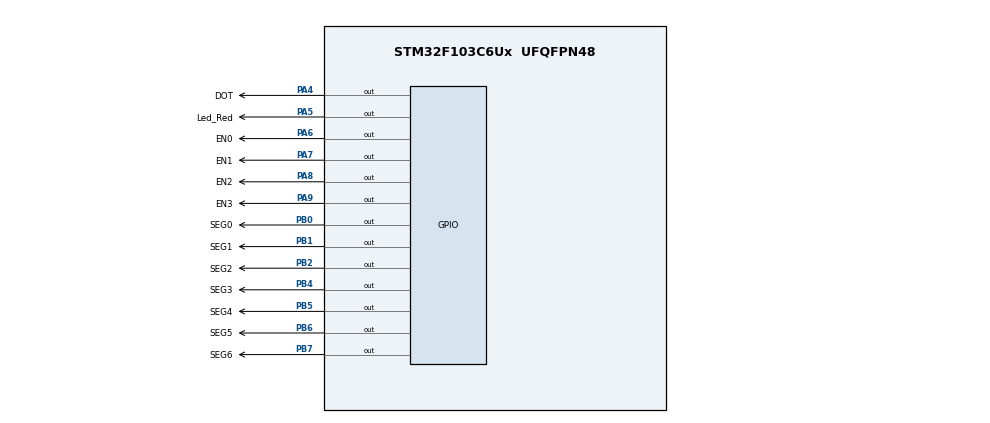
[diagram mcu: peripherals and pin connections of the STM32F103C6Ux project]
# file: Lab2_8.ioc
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Mcu.Family=STM32F1
Mcu.Name=STM32F103C6Ux
Mcu.Package=UFQFPN48
NVIC.PriorityGroup=NVIC_PRIORITYGROUP_4
NVIC.TIM2_IRQn=true\:0\:0\:false\:false\:true\:true\:true
PA4.GPIO_Label=DOT
PA4.Signal=GPIO_Output
PA5.GPIO_Label=Led_Red
PA5.Signal=GPIO_Output
PA6.GPIO_Label=EN0
PA6.Signal=GPIO_Output
PA7.GPIO_Label=EN1
PA7.Signal=GPIO_Output
PA8.GPIO_Label=EN2
PA8.Signal=GPIO_Output
PA9.GPIO_Label=EN3
PA9.Signal=GPIO_Output
PB0.GPIO_Label=SEG0
PB0.Signal=GPIO_Output
PB1.GPIO_Label=SEG1
PB1.Signal=GPIO_Output
PB2.GPIO_Label=SEG2
PB2.Signal=GPIO_Output
PB4.GPIO_Label=SEG3
PB4.Signal=GPIO_Output
PB5.GPIO_Label=SEG4
PB5.Signal=GPIO_Output
PB6.GPIO_Label=SEG5
PB6.Signal=GPIO_Output
PB7.GPIO_Label=SEG6
PB7.Signal=GPIO_Output
ProjectManager.HeapSize=0x200
ProjectManager.StackSize=0x400
ProjectManager.TargetToolchain=STM32CubeIDE
RCC.APB1Freq_Value=8000000
RCC.APB2Freq_Value=8000000
TIM2.Period=9 
TIM2.Prescaler=7999
VP_SYS_VS_ND.Mode=No_Debug
VP_TIM2_VS_ClockSourceINT.Mode=Internal
board=custom

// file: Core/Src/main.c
/* USER CODE BEGIN Header */
/**
  ******************************************************************************
  * @file           : main.c
  * @brief          : Main program body
  ******************************************************************************
  * @attention
  *
  * <h2><center>&copy; Copyright (c) 2022 STMicroelectronics.
  * All rights reserved.</center></h2>
  *
  * This software component is licensed by ST under BSD 3-Clause license,
  * the "License"; You may not use this file except in compliance with the
  * License. You may obtain a copy of the License at:
  *                        opensource.org/licenses/BSD-3-Clause
  *
  ******************************************************************************
  */
/* USER CODE END Header */
#include "main.h"

/* USER CODE BEGIN Includes */
#include "software_timmer.h"
/* USER CODE END Includes */

TIM_HandleTypeDef htim2;

void SystemClock_Config(void);
static void MX_GPIO_Init(void);
static void MX_TIM2_Init(void);

/* USER CODE BEGIN 0 */
void display7SEG(int count);
void updateClockBuffer(int hour, int minute);
void led_on(int index_led);
void update7SEG(int index_led);
/* USER CODE END 0 */

int main(void)
{

  /* MCU Configuration--------------------------------------------------------*/

  /* Reset of all peripherals, Initializes the Flash interface and the Systick. */
  HAL_Init();

  /* Configure the system clock */
  SystemClock_Config();

  /* Initialize all configured peripherals */
  MX_GPIO_Init();
  MX_TIM2_Init();
  /* USER CODE BEGIN 2 */
  HAL_TIM_Base_Start_IT (& htim2 ) ;
  /* USER CODE END 2 */

  /* Infinite loop */
  /* USER CODE BEGIN WHILE */
  setTimer1(100);
  setTimer4(25);
  int index_led = 0;
  int second= 50;
  int minute= 59;
  int hour= 15;
  while (1)
  {
	  updateClockBuffer(hour, minute);
    /* USER CODE END WHILE */
	  if(timer1_flag== 1){
		  setTimer1(100);
		  second++;
		  if ( second >= 60)
		  {	  second = 0;
		  	  minute ++;
		  }
		  if( minute >= 60){
			  minute = 0;
			  hour ++;
		  }
		  if( hour >=24){
			  hour = 0;
		  }
	  }
	  if(timer4_flag== 1){
		  setTimer4(25);
		  switch ( index_led ) {
		  		case 0:
		  		// Display the first 7 SEG with led_buffer [0]
		  			led_on(0);
		  			display7SEG(led_buffer[0]);
		  		    HAL_GPIO_WritePin(DOT_GPIO_Port, DOT_Pin, SET);
		  		break ;
		  		case 1:
		  		// Display the second 7 SEG with led_buffer [1]
		  			led_on(1);
		  			display7SEG(led_buffer[1]);
		  		    HAL_GPIO_WritePin(DOT_GPIO_Port, DOT_Pin, RESET);
		  		break ;
		  		case 2:
		  		// Display the third 7 SEG with led_buffer [2]
		  			led_on(2);
		  			display7SEG(led_buffer[2]);
		  			HAL_GPIO_WritePin(DOT_GPIO_Port, DOT_Pin, SET);
		  		break ;
		  		case 3:
		  		// Display the forth 7 SEG with led_buffer [3]
		  			led_on(3);
		  			display7SEG(led_buffer[3]);
		  			HAL_GPIO_WritePin(DOT_GPIO_Port, DOT_Pin, RESET);
		  		break ;
		  		default :
		  		break ;
		  }
		  index_led++;
	  }
	  if(index_led> 4){
		  index_led= 0;
	  }

  }
  /* USER CODE END 3 */
}

void SystemClock_Config(void)
{
  RCC_OscInitTypeDef RCC_OscInitStruct = {0};
  RCC_ClkInitTypeDef RCC_ClkInitStruct = {0};

  /** Initializes the RCC Oscillators according to the specified parameters
  * in the RCC_OscInitTypeDef structure.
  */
  RCC_OscInitStruct.OscillatorType = RCC_OSCILLATORTYPE_HSI;
  RCC_OscInitStruct.HSIState = RCC_HSI_ON;
  RCC_OscInitStruct.HSICalibrationValue = RCC_HSICALIBRATION_DEFAULT;
  RCC_OscInitStruct.PLL.PLLState = RCC_PLL_NONE;
  if (HAL_RCC_OscConfig(&RCC_OscInitStruct) != HAL_OK)
  {
    Error_Handler();
  }
  /** Initializes the CPU, AHB and APB buses clocks
  */
  RCC_ClkInitStruct.ClockType = RCC_CLOCKTYPE_HCLK|RCC_CLOCKTYPE_SYSCLK
                              |RCC_CLOCKTYPE_PCLK1|RCC_CLOCKTYPE_PCLK2;
  RCC_ClkInitStruct.SYSCLKSource = RCC_SYSCLKSOURCE_HSI;
  RCC_ClkInitStruct.AHBCLKDivider = RCC_SYSCLK_DIV1;
  RCC_ClkInitStruct.APB1CLKDivider = RCC_HCLK_DIV1;
  RCC_ClkInitStruct.APB2CLKDivider = RCC_HCLK_DIV1;

  if (HAL_RCC_ClockConfig(&RCC_ClkInitStruct, FLASH_LATENCY_0) != HAL_OK)
  {
    Error_Handler();
  }
}

static void MX_TIM2_Init(void)
{

  TIM_ClockConfigTypeDef sClockSourceConfig = {0};
  TIM_MasterConfigTypeDef sMasterConfig = {0};

  htim2.Instance = TIM2;
  htim2.Init.Prescaler = 7999;
  htim2.Init.CounterMode = TIM_COUNTERMODE_UP;
  htim2.Init.Period = 9 ;
  htim2.Init.ClockDivision = TIM_CLOCKDIVISION_DIV1;
  htim2.Init.AutoReloadPreload = TIM_AUTORELOAD_PRELOAD_DISABLE;
  if (HAL_TIM_Base_Init(&htim2) != HAL_OK)
  {
    Error_Handler();
  }
  sClockSourceConfig.ClockSource = TIM_CLOCKSOURCE_INTERNAL;
  if (HAL_TIM_ConfigClockSource(&htim2, &sClockSourceConfig) != HAL_OK)
  {
    Error_Handler();
  }
  sMasterConfig.MasterOutputTrigger = TIM_TRGO_RESET;
  sMasterConfig.MasterSlaveMode = TIM_MASTERSLAVEMODE_DISABLE;
  if (HAL_TIMEx_MasterConfigSynchronization(&htim2, &sMasterConfig) != HAL_OK)
  {
    Error_Handler();
  }

}

static void MX_GPIO_Init(void)
{
  GPIO_InitTypeDef GPIO_InitStruct = {0};

  /* GPIO Ports Clock Enable */
  __HAL_RCC_GPIOA_CLK_ENABLE();
  __HAL_RCC_GPIOB_CLK_ENABLE();

  /*Configure GPIO pin Output Level */
  HAL_GPIO_WritePin(GPIOA, DOT_Pin|Led_Red_Pin|EN0_Pin|EN1_Pin
                          |EN2_Pin|EN3_Pin, GPIO_PIN_RESET);

  /*Configure GPIO pin Output Level */
  HAL_GPIO_WritePin(GPIOB, SEG0_Pin|SEG1_Pin|SEG2_Pin|SEG3_Pin
                          |SEG4_Pin|SEG5_Pin|SEG6_Pin, GPIO_PIN_RESET);

  /*Configure GPIO pins : DOT_Pin Led_Red_Pin EN0_Pin EN1_Pin
                           EN2_Pin EN3_Pin */
  GPIO_InitStruct.Pin = DOT_Pin|Led_Red_Pin|EN0_Pin|EN1_Pin
                          |EN2_Pin|EN3_Pin;
  GPIO_InitStruct.Mode = GPIO_MODE_OUTPUT_PP;
  GPIO_InitStruct.Pull = GPIO_NOPULL;
  GPIO_InitStruct.Speed = GPIO_SPEED_FREQ_LOW;
  HAL_GPIO_Init(GPIOA, &GPIO_InitStruct);

  /*Configure GPIO pins : SEG0_Pin SEG1_Pin SEG2_Pin SEG3_Pin
                           SEG4_Pin SEG5_Pin SEG6_Pin */
  GPIO_InitStruct.Pin = SEG0_Pin|SEG1_Pin|SEG2_Pin|SEG3_Pin
                          |SEG4_Pin|SEG5_Pin|SEG6_Pin;
  GPIO_InitStruct.Mode = GPIO_MODE_OUTPUT_PP;
  GPIO_InitStruct.Pull = GPIO_NOPULL;
  GPIO_InitStruct.Speed = GPIO_SPEED_FREQ_LOW;
  HAL_GPIO_Init(GPIOB, &GPIO_InitStruct);

}

/* USER CODE BEGIN 4 */

 void HAL_TIM_PeriodElapsedCallback ( TIM_HandleTypeDef * htim ){
	timerRun();
}

void updateClockBuffer(int hour, int minute){
	// update gio
	if(hour<10){
		led_buffer[0]= 0;
		led_buffer[1]= hour;
	}
	else{
		led_buffer[0]= 1;
		led_buffer[1]= hour%10;
	}
	//update phut
	if(minute<10){
		led_buffer[2]= 0;
		led_buffer[3]= minute;
	}
	else if(minute>=10&& minute<20){
		led_buffer[2]= 1;
		led_buffer[3]= minute%10;
	}
	else if(minute>=20&& minute<30){
		led_buffer[2]= 2;
		led_buffer[3]= minute%20;
	}
	else if(minute>=30&& minute<40){
		led_buffer[2]= 3;
		led_buffer[3]=  minute%30;
	}
	else if(minute>=40&& minute<50){
		led_buffer[2]= 4;
		led_buffer[3]= minute%40;
	}
	else if(minute>=50&& minute<60){
		led_buffer[2]= 5;
		led_buffer[3]= minute%50;
	}
	else{
		led_buffer[2]= 6;
		led_buffer[3]= 0;
	}
}
void update7SEG ( int index_led) {

}
void led_on(int index_led){
switch( index_led){
		case 0:
			HAL_GPIO_WritePin(EN0_GPIO_Port, EN0_Pin, RESET);
			HAL_GPIO_WritePin(EN1_GPIO_Port, EN1_Pin, SET);
			HAL_GPIO_WritePin(EN2_GPIO_Port, EN2_Pin, SET);
			HAL_GPIO_WritePin(EN3_GPIO_Port, EN3_Pin, SET);
		break;

		case 1:
			HAL_GPIO_WritePin(EN0_GPIO_Port, EN0_Pin, SET);
			HAL_GPIO_WritePin(EN1_GPIO_Port, EN1_Pin, RESET);
			HAL_GPIO_WritePin(EN2_GPIO_Port, EN2_Pin, SET);
			HAL_GPIO_WritePin(EN3_GPIO_Port, EN3_Pin, SET);
		break;

		case 2:
			HAL_GPIO_WritePin(EN0_GPIO_Port, EN0_Pin, SET);
			HAL_GPIO_WritePin(EN1_GPIO_Port, EN1_Pin, SET);
			HAL_GPIO_WritePin(EN2_GPIO_Port, EN2_Pin, RESET);
			HAL_GPIO_WritePin(EN3_GPIO_Port, EN3_Pin, SET);
		break;

		case 3:
			HAL_GPIO_WritePin(EN0_GPIO_Port, EN0_Pin, SET);
			HAL_GPIO_WritePin(EN1_GPIO_Port, EN1_Pin, SET);
			HAL_GPIO_WritePin(EN2_GPIO_Port, EN2_Pin, SET);
			HAL_GPIO_WritePin(EN3_GPIO_Port, EN3_Pin, RESET);
		break;
	}
}
void display7SEG( int counter){
	switch(counter){
		case 0:
			HAL_GPIO_WritePin(SEG0_GPIO_Port, SEG0_Pin, RESET);
			HAL_GPIO_WritePin(SEG1_GPIO_Port, SEG1_Pin, RESET);
			HAL_GPIO_WritePin(SEG2_GPIO_Port, SEG2_Pin, RESET);
			HAL_GPIO_WritePin(SEG3_GPIO_Port, SEG3_Pin, RESET);
			HAL_GPIO_WritePin(SEG4_GPIO_Port, SEG4_Pin, RESET);
			HAL_GPIO_WritePin(SEG5_GPIO_Port, SEG5_Pin, RESET);
			HAL_GPIO_WritePin(SEG6_GPIO_Port, SEG6_Pin, SET);
			break;
		case 1:
			HAL_GPIO_WritePin(SEG0_GPIO_Port, SEG0_Pin, SET);
			HAL_GPIO_WritePin(SEG1_GPIO_Port, SEG1_Pin, RESET);
			HAL_GPIO_WritePin(SEG2_GPIO_Port, SEG2_Pin, RESET);
			HAL_GPIO_WritePin(SEG3_GPIO_Port, SEG3_Pin, SET);
			HAL_GPIO_WritePin(SEG4_GPIO_Port, SEG4_Pin, SET);
			HAL_GPIO_WritePin(SEG5_GPIO_Port, SEG5_Pin, SET);
			HAL_GPIO_WritePin(SEG6_GPIO_Port, SEG6_Pin, SET);
			break;
		case 2:
			HAL_GPIO_WritePin(SEG0_GPIO_Port, SEG0_Pin, RESET);
			HAL_GPIO_WritePin(SEG1_GPIO_Port, SEG1_Pin, RESET);
			HAL_GPIO_WritePin(SEG2_GPIO_Port, SEG2_Pin, SET);
			HAL_GPIO_WritePin(SEG3_GPIO_Port, SEG3_Pin, RESET);
			HAL_GPIO_WritePin(SEG4_GPIO_Port, SEG4_Pin, RESET);
			HAL_GPIO_WritePin(SEG5_GPIO_Port, SEG5_Pin, SET);
			HAL_GPIO_WritePin(SEG6_GPIO_Port, SEG6_Pin, RESET);
			break;
		case 3:
			HAL_GPIO_WritePin(SEG0_GPIO_Port, SEG0_Pin, RESET);
			HAL_GPIO_WritePin(SEG1_GPIO_Port, SEG1_Pin, RESET);
			HAL_GPIO_WritePin(SEG2_GPIO_Port, SEG2_Pin, RESET);
			HAL_GPIO_WritePin(SEG3_GPIO_Port, SEG3_Pin, RESET);
			HAL_GPIO_WritePin(SEG4_GPIO_Port, SEG4_Pin, SET);
			HAL_GPIO_WritePin(SEG5_GPIO_Port, SEG5_Pin, SET);
			HAL_GPIO_WritePin(SEG6_GPIO_Port, SEG6_Pin, RESET);
			break;
		case 4:
			HAL_GPIO_WritePin(SEG0_GPIO_Port, SEG0_Pin, SET);
			HAL_GPIO_WritePin(SEG1_GPIO_Port, SEG1_Pin, RESET);
			HAL_GPIO_WritePin(SEG2_GPIO_Port, SEG2_Pin, RESET);
			HAL_GPIO_WritePin(SEG3_GPIO_Port, SEG3_Pin, SET);
			HAL_GPIO_WritePin(SEG4_GPIO_Port, SEG4_Pin, SET);
			HAL_GPIO_WritePin(SEG5_GPIO_Port, SEG5_Pin, RESET);
			HAL_GPIO_WritePin(SEG6_GPIO_Port, SEG6_Pin, RESET);
			break;
		case 5:
			HAL_GPIO_WritePin(SEG0_GPIO_Port, SEG0_Pin, RESET);
			HAL_GPIO_WritePin(SEG1_GPIO_Port, SEG1_Pin, SET);
			HAL_GPIO_WritePin(SEG2_GPIO_Port, SEG2_Pin, RESET);
			HAL_GPIO_WritePin(SEG3_GPIO_Port, SEG3_Pin, RESET);
			HAL_GPIO_WritePin(SEG4_GPIO_Port, SEG4_Pin, SET);
			HAL_GPIO_WritePin(SEG5_GPIO_Port, SEG5_Pin, RESET);
			HAL_GPIO_WritePin(SEG6_GPIO_Port, SEG6_Pin, RESET);
			break;
		case 6:
			HAL_GPIO_WritePin(SEG0_GPIO_Port, SEG0_Pin, RESET);
			HAL_GPIO_WritePin(SEG1_GPIO_Port, SEG1_Pin, SET);
			HAL_GPIO_WritePin(SEG2_GPIO_Port, SEG2_Pin, RESET);
			HAL_GPIO_WritePin(SEG3_GPIO_Port, SEG3_Pin, RESET);
			HAL_GPIO_WritePin(SEG4_GPIO_Port, SEG4_Pin, RESET);
			HAL_GPIO_WritePin(SEG5_GPIO_Port, SEG5_Pin, RESET);
			HAL_GPIO_WritePin(SEG6_GPIO_Port, SEG6_Pin, RESET);
			break;
		case 7:
			HAL_GPIO_WritePin(SEG0_GPIO_Port, SEG0_Pin, RESET);
			HAL_GPIO_WritePin(SEG1_GPIO_Port, SEG1_Pin, RESET);
			HAL_GPIO_WritePin(SEG2_GPIO_Port, SEG2_Pin, RESET);
			HAL_GPIO_WritePin(SEG3_GPIO_Port, SEG3_Pin, SET);
			HAL_GPIO_WritePin(SEG4_GPIO_Port, SEG4_Pin, SET);
			HAL_GPIO_WritePin(SEG5_GPIO_Port, SEG5_Pin, SET);
			HAL_GPIO_WritePin(SEG6_GPIO_Port, SEG6_Pin, SET);
			break;
		case 8:
			HAL_GPIO_WritePin(SEG0_GPIO_Port, SEG0_Pin, RESET);
			HAL_GPIO_WritePin(SEG1_GPIO_Port, SEG1_Pin, RESET);
			HAL_GPIO_WritePin(SEG2_GPIO_Port, SEG2_Pin, RESET);
			HAL_GPIO_WritePin(SEG3_GPIO_Port, SEG3_Pin, RESET);
			HAL_GPIO_WritePin(SEG4_GPIO_Port, SEG4_Pin, RESET);
			HAL_GPIO_WritePin(SEG5_GPIO_Port, SEG5_Pin, RESET);
			HAL_GPIO_WritePin(SEG6_GPIO_Port, SEG6_Pin, RESET);
			break;
		case 9:
			HAL_GPIO_WritePin(SEG0_GPIO_Port, SEG0_Pin, RESET);
			HAL_GPIO_WritePin(SEG1_GPIO_Port, SEG1_Pin, RESET);
			HAL_GPIO_WritePin(SEG2_GPIO_Port, SEG2_Pin, RESET);
			HAL_GPIO_WritePin(SEG3_GPIO_Port, SEG3_Pin, RESET);
			HAL_GPIO_WritePin(SEG4_GPIO_Port, SEG4_Pin, SET);
			HAL_GPIO_WritePin(SEG5_GPIO_Port, SEG5_Pin, RESET);
			HAL_GPIO_WritePin(SEG6_GPIO_Port, SEG6_Pin, RESET);
			break;}
}
/* USER CODE END 4 */

void Error_Handler(void)
{
  __disable_irq();
  while (1)
  {
  }
}

/************************ (C) COPYRIGHT STMicroelectronics *****END OF FILE****/
